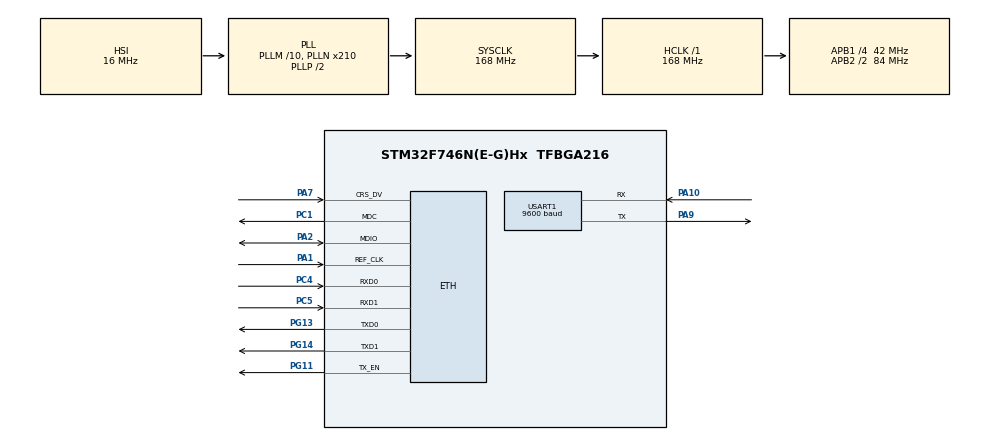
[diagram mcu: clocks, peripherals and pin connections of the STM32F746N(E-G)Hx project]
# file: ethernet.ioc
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ETH.MediaInterface=ETH_MEDIA_INTERFACE_RMII
ETH.PhyAddress=0
LWIP.GATEWAY_ADDRESS=192.168.137.001
LWIP.IP_ADDRESS=192.168.137.003
LWIP.LWIP_DHCP=0
LWIP.NETMASK_ADDRESS=255.255.255.000
LWIP.Version=v1.5.0_RC0_20160211_Cube
Mcu.Family=STM32F7
Mcu.Name=STM32F746N(E-G)Hx
Mcu.Package=TFBGA216
NVIC.PriorityGroup=NVIC_PRIORITYGROUP_4
PA1.Mode=RMII
PA1.Signal=ETH_REF_CLK
PA10.Mode=Asynchronous
PA10.Signal=USART1_RX
PA2.Mode=RMII
PA2.Signal=ETH_MDIO
PA7.Mode=RMII
PA7.Signal=ETH_CRS_DV
PA9.Mode=Asynchronous
PA9.Signal=USART1_TX
PC1.Mode=RMII
PC1.Signal=ETH_MDC
PC4.Mode=RMII
PC4.Signal=ETH_RXD0
PC5.Mode=RMII
PC5.Signal=ETH_RXD1
PG11.Mode=RMII
PG11.Signal=ETH_TX_EN
PG13.Mode=RMII
PG13.Signal=ETH_TXD0
PG14.Mode=RMII
PG14.Signal=ETH_TXD1
ProjectManager.HeapSize=0x200
ProjectManager.StackSize=0x400
ProjectManager.TargetToolchain=SW4STM32
RCC.AHBFreq_Value=168000000
RCC.APB1CLKDivider=RCC_HCLK_DIV4
RCC.APB1Freq_Value=42000000
RCC.APB1TimFreq_Value=84000000
RCC.APB2CLKDivider=RCC_HCLK_DIV2
RCC.APB2Freq_Value=84000000
RCC.APB2TimFreq_Value=168000000
RCC.CortexFreq_Value=168000000
RCC.HCLKFreq_Value=168000000
RCC.HSE_VALUE=25000000
RCC.HSI_VALUE=16000000
RCC.LSE_VALUE=32768
RCC.PLLM=10
RCC.PLLN=210
RCC.PLLSourceVirtual=RCC_PLLSOURCE_HSI
RCC.SYSCLKFreq_VALUE=168000000
RCC.SYSCLKSource=RCC_SYSCLKSOURCE_PLLCLK
RCC.USBFreq_Value=168000000
RCC.VCOOutputFreq_Value=336000000
USART1.BaudRate=9600
USART1.WordLength=UART_WORDLENGTH_8B
VP_LWIP_VS_Enabled.Mode=Enabled
board=STM32F746G-DISCO

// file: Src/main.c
/**
  ******************************************************************************
  * File Name          : main.c
  * Description        : Main program body
  ******************************************************************************
  *
  * Copyright (c) 2016 STMicroelectronics International N.V.
  * All rights reserved.
  *
  * Redistribution and use in source and binary forms, with or without
  * modification, are permitted, provided that the following conditions are met:
  *
  * 1. Redistribution of source code must retain the above copyright notice,
  *    this list of conditions and the following disclaimer.
  * 2. Redistributions in binary form must reproduce the above copyright notice,
  *    this list of conditions and the following disclaimer in the documentation
  *    and/or other materials provided with the distribution.
  * 3. Neither the name of STMicroelectronics nor the names of other
  *    contributors to this software may be used to endorse or promote products
  *    derived from this software without specific written permission.
  * 4. This software, including modifications and/or derivative works of this
  *    software, must execute solely and exclusively on microcontroller or
  *    microprocessor devices manufactured by or for STMicroelectronics.
  * 5. Redistribution and use of this software other than as permitted under
  *    this license is void and will automatically terminate your rights under
  *    this license.
  *
  * THIS SOFTWARE IS PROVIDED BY STMICROELECTRONICS AND CONTRIBUTORS "AS IS"
  * AND ANY EXPRESS, IMPLIED OR STATUTORY WARRANTIES, INCLUDING, BUT NOT
  * LIMITED TO, THE IMPLIED WARRANTIES OF MERCHANTABILITY, FITNESS FOR A
  * PARTICULAR PURPOSE AND NON-INFRINGEMENT OF THIRD PARTY INTELLECTUAL PROPERTY
  * RIGHTS ARE DISCLAIMED TO THE FULLEST EXTENT PERMITTED BY LAW. IN NO EVENT
  * SHALL STMICROELECTRONICS OR CONTRIBUTORS BE LIABLE FOR ANY DIRECT, INDIRECT,
  * INCIDENTAL, SPECIAL, EXEMPLARY, OR CONSEQUENTIAL DAMAGES (INCLUDING, BUT NOT
  * LIMITED TO, PROCUREMENT OF SUBSTITUTE GOODS OR SERVICES; LOSS OF USE, DATA,
  * OR PROFITS; OR BUSINESS INTERRUPTION) HOWEVER CAUSED AND ON ANY THEORY OF
  * LIABILITY, WHETHER IN CONTRACT, STRICT LIABILITY, OR TORT (INCLUDING
  * NEGLIGENCE OR OTHERWISE) ARISING IN ANY WAY OUT OF THE USE OF THIS SOFTWARE,
  * EVEN IF ADVISED OF THE POSSIBILITY OF SUCH DAMAGE.
  *
  ******************************************************************************
  */
#include "main.h"
#include "stm32f7xx_hal.h"
#include "lwip.h"

/* USER CODE BEGIN Includes */
#include "tcp.h"
#include "string.h"
/* USER CODE END Includes */

UART_HandleTypeDef huart1;

/* USER CODE BEGIN PV */
/* Private variables ---------------------------------------------------------*/

/* USER CODE END PV */

void SystemClock_Config(void);
void Error_Handler(void);
static void MX_GPIO_Init(void);
static void MX_USART1_UART_Init(void);

/* USER CODE BEGIN PFP */
/* Private function prototypes -----------------------------------------------*/

/* USER CODE END PFP */

/* USER CODE BEGIN 0 */
err_t quoteOntvangen(void *arg, struct tcp_pcb *connectie, struct pbuf *data, err_t err)
{
	HAL_UART_Transmit(&huart1, (uint8_t*)data->payload, strlen(data->payload), HAL_MAX_DELAY);

	tcp_recved(connectie, data->len);

	return ERR_OK;
}
err_t verbonden(void *arg, struct tcp_pcb *connectie, err_t err)
{
	//Verbinding gemaakt => Data versturen
	HAL_UART_Transmit(&huart1, (uint8_t*)"Verbonden\r\n", strlen("Verbonden\r\n"), HAL_MAX_DELAY);
	tcp_write(connectie, "q", strlen("q"), 1);
	HAL_UART_Transmit(&huart1, (uint8_t*)"Data verzonden\r\n", strlen("Data verzonden\r\n"), HAL_MAX_DELAY);
	tcp_recv(connectie, quoteOntvangen);
	return ERR_OK;
}

/* USER CODE END 0 */

int main(void)
{

  /* MCU Configuration----------------------------------------------------------*/

  /* Reset of all peripherals, Initializes the Flash interface and the Systick. */
  HAL_Init();

  /* Configure the system clock */
  SystemClock_Config();

  /* Initialize all configured peripherals */
  MX_GPIO_Init();
  MX_LWIP_Init();
  MX_USART1_UART_Init();

  /* USER CODE BEGIN 2 */
  HAL_UART_Transmit(&huart1, (uint8_t*)"Start\r\n", strlen("Start\r\n"), HAL_MAX_DELAY);
  struct tcp_pcb * connectie;
  connectie = tcp_new();
  struct ip4_addr serverIp;
  IP4_ADDR(&serverIp, 192, 168, 137, 1);
  tcp_connect(connectie, &serverIp, 64000, verbonden);

  /* USER CODE END 2 */

  /* Infinite loop */
  while (1)
  {

  /* USER CODE BEGIN 3 */
	  MX_LWIP_Process();

  }
  /* USER CODE END 3 */

}

/** System Clock Configuration
*/
void SystemClock_Config(void)
{

  RCC_OscInitTypeDef RCC_OscInitStruct;
  RCC_ClkInitTypeDef RCC_ClkInitStruct;
  RCC_PeriphCLKInitTypeDef PeriphClkInitStruct;

    /**Configure the main internal regulator output voltage
    */
  __HAL_RCC_PWR_CLK_ENABLE();

  __HAL_PWR_VOLTAGESCALING_CONFIG(PWR_REGULATOR_VOLTAGE_SCALE2);

    /**Initializes the CPU, AHB and APB busses clocks
    */
  RCC_OscInitStruct.OscillatorType = RCC_OSCILLATORTYPE_HSI;
  RCC_OscInitStruct.HSIState = RCC_HSI_ON;
  RCC_OscInitStruct.HSICalibrationValue = 16;
  RCC_OscInitStruct.PLL.PLLState = RCC_PLL_ON;
  RCC_OscInitStruct.PLL.PLLSource = RCC_PLLSOURCE_HSI;
  RCC_OscInitStruct.PLL.PLLM = 10;
  RCC_OscInitStruct.PLL.PLLN = 210;
  RCC_OscInitStruct.PLL.PLLP = RCC_PLLP_DIV2;
  RCC_OscInitStruct.PLL.PLLQ = 2;
  if (HAL_RCC_OscConfig(&RCC_OscInitStruct) != HAL_OK)
  {
    Error_Handler();
  }

    /**Initializes the CPU, AHB and APB busses clocks
    */
  RCC_ClkInitStruct.ClockType = RCC_CLOCKTYPE_HCLK|RCC_CLOCKTYPE_SYSCLK
                              |RCC_CLOCKTYPE_PCLK1|RCC_CLOCKTYPE_PCLK2;
  RCC_ClkInitStruct.SYSCLKSource = RCC_SYSCLKSOURCE_PLLCLK;
  RCC_ClkInitStruct.AHBCLKDivider = RCC_SYSCLK_DIV1;
  RCC_ClkInitStruct.APB1CLKDivider = RCC_HCLK_DIV4;
  RCC_ClkInitStruct.APB2CLKDivider = RCC_HCLK_DIV2;

  if (HAL_RCC_ClockConfig(&RCC_ClkInitStruct, FLASH_LATENCY_5) != HAL_OK)
  {
    Error_Handler();
  }

  PeriphClkInitStruct.PeriphClockSelection = RCC_PERIPHCLK_USART1;
  PeriphClkInitStruct.Usart1ClockSelection = RCC_USART1CLKSOURCE_PCLK2;
  if (HAL_RCCEx_PeriphCLKConfig(&PeriphClkInitStruct) != HAL_OK)
  {
    Error_Handler();
  }

    /**Configure the Systick interrupt time
    */
  HAL_SYSTICK_Config(HAL_RCC_GetHCLKFreq()/1000);

    /**Configure the Systick
    */
  HAL_SYSTICK_CLKSourceConfig(SYSTICK_CLKSOURCE_HCLK);

  /* SysTick_IRQn interrupt configuration */
  HAL_NVIC_SetPriority(SysTick_IRQn, 0, 0);
}

/* USART1 init function */
static void MX_USART1_UART_Init(void)
{

  huart1.Instance = USART1;
  huart1.Init.BaudRate = 9600;
  huart1.Init.WordLength = UART_WORDLENGTH_8B;
  huart1.Init.StopBits = UART_STOPBITS_1;
  huart1.Init.Parity = UART_PARITY_NONE;
  huart1.Init.Mode = UART_MODE_TX_RX;
  huart1.Init.HwFlowCtl = UART_HWCONTROL_NONE;
  huart1.Init.OverSampling = UART_OVERSAMPLING_16;
  huart1.Init.OneBitSampling = UART_ONE_BIT_SAMPLE_DISABLE;
  huart1.AdvancedInit.AdvFeatureInit = UART_ADVFEATURE_NO_INIT;
  if (HAL_UART_Init(&huart1) != HAL_OK)
  {
    Error_Handler();
  }

}

/** Pinout Configuration
*/
static void MX_GPIO_Init(void)
{

  /* GPIO Ports Clock Enable */
  __HAL_RCC_GPIOG_CLK_ENABLE();
  __HAL_RCC_GPIOA_CLK_ENABLE();
  __HAL_RCC_GPIOC_CLK_ENABLE();

}

void Error_Handler(void)
{
  while(1)
  {
  }
}

/************************ (C) COPYRIGHT STMicroelectronics *****END OF FILE****/
